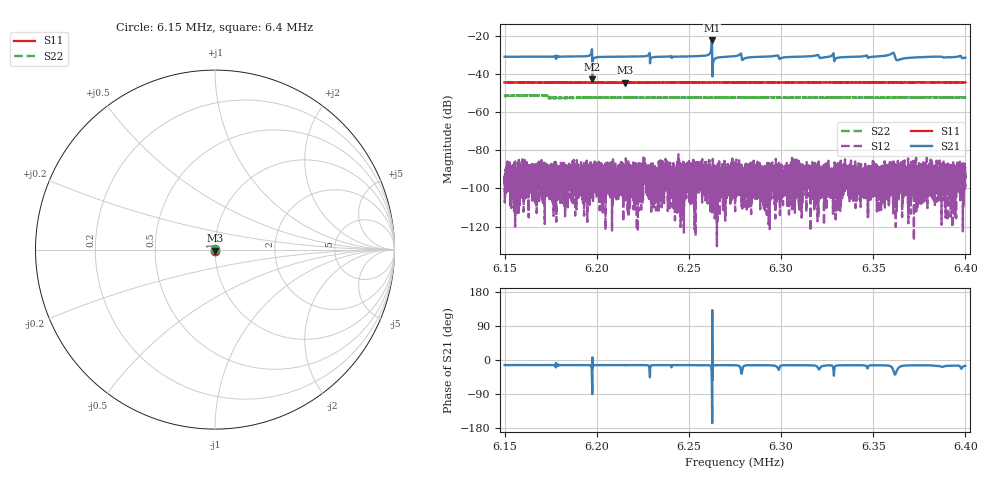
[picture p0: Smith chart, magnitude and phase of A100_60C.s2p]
!CETC41,AV3656A,ZGL00048,1.3.2
!Calibration ON (Full Solt 2-Port(Omit Isolation))
!Measurements: S11 S21 S12 S22
!2025-07-09 22:31
# Hz  S  dB  R 50.000
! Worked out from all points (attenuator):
!   6401 points, 6.15 MHz to 6.4 MHz, reference 50 ohm
!   highest |S21| = -22.27 dB at 6.2625 MHz (marker M1); lowest = -42.7 dB at 6.1976 MHz (marker M2)
!   lowest |S11| = -44.5 dB at 6.2153 MHz (marker M3), VSWR 1.01, Z = 50 - j0.597 ohm
!   |S11| at or under -10 dB: start of sweep to end of sweep
!   |S22| runs from -52.6 to -50.9 dB; largest |S21 - S12| = 0.077
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6150000  -44.30 -90.5  -30.83 -13.3  -98.26 82.9  -51.41 59.0
6191680  -44.36 -90.5  -30.65 -13.4  -94.78 -7.1  -52.36 79.3
6196250  -44.40 -90.6  -30.12 -13.7  -108.61 -108.0  -52.29 79.9
6197578  -44.39 -90.6  -42.70 -85.2  -98.68 83.7  -52.35 79.5
6215313  -44.48 -90.7  -30.78 -13.5  -88.06 99.7  -52.26 79.5
6233359  -44.34 -90.3  -30.85 -13.5  -90.00 155.8  -52.32 79.2
6257852  -44.33 -90.8  -30.36 -13.6  -95.55 166.8  -52.34 78.2
6261367  -44.32 -90.8  -29.17 -14.2  -101.38 114.4  -52.39 78.0
6262461  -44.32 -90.7  -22.27 -66.5  -106.14 -36.0  -52.36 78.6
6263906  -44.29 -90.5  -32.05 -14.1  -108.83 -19.0  -52.23 78.5
6265820  -44.33 -90.5  -31.24 -13.7  -91.90 8.8  -52.23 78.2
6275000  -44.34 -90.7  -30.51 -13.9  -94.65 169.4  -52.40 78.5
6277344  -44.28 -90.7  -29.79 -15.9  -94.81 18.1  -52.26 77.9
6279922  -44.38 -90.7  -31.85 -15.9  -94.82 122.3  -52.27 77.7
6316680  -44.35 -90.6  -30.50 -14.1  -90.28 132.8  -52.30 76.7
6327383  -44.28 -90.1  -30.35 -14.5  -93.44 125.3  -52.31 78.2
6329961  -44.32 -90.5  -31.58 -14.8  -91.41 44.6  -52.17 77.5
6358359  -44.25 -90.0  -29.94 -14.9  -94.97 -169.7  -52.29 76.3
6360547  -44.30 -90.0  -28.83 -22.9  -90.33 27.9  -52.34 78.0
6363516  -44.32 -90.2  -32.58 -21.7  -93.59 86.7  -52.26 76.8
6382852  -44.32 -90.5  -30.78 -14.8  -100.87 40.9  -52.15 76.6
6400000  -44.31 -90.4  -31.30 -15.4  -94.47 -96.5  -51.99 76.5
